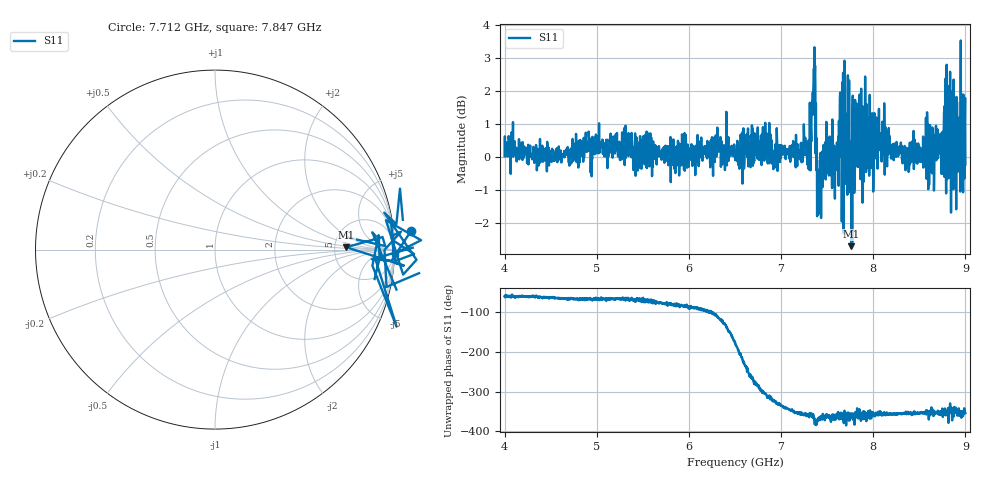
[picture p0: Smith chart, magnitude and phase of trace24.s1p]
! Created with skrf 1.8.0 (http://scikit-rf.org).
# Hz S RI R 50.0
!freq ReS11 ImS11
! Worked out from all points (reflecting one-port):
!   1601 points, 4 GHz to 9 GHz, reference 50 ohm
!   lowest |S11| = -2.7 dB at 7.762 GHz (marker M1), VSWR 6.44, Z = 321 + j18.1 ohm
!   phase of S11 starts at -61 deg and turns -293 deg over the sweep
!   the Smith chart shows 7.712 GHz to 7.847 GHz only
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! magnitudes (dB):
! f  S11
! 4 GHz  0.0
! 4.625 GHz  0.0
! 5.25 GHz  -0.1
! 5.875 GHz  0.2
! 6.238 GHz  0.5
! 6.316 GHz  0.4
! 6.5 GHz  0.2
! 6.819 GHz  0.6
! 7.125 GHz  0.3
! 7.294 GHz  -0.4
! 7.353 GHz  2.3
! 7.409 GHz  -1.2
! 7.512 GHz  0.2
! 7.609 GHz  0.2
! 7.662 GHz  0.3
! 7.75 GHz  0.3
! 7.762 GHz  -2.7
! 7.788 GHz  -0.8
! 7.828 GHz  0.2
! 7.928 GHz  1.6
! 7.981 GHz  -0.3
! 8.134 GHz  0.6
! 8.375 GHz  -0.3
! 8.734 GHz  0.3
! 8.788 GHz  -0.4
! 8.919 GHz  0.3
! 8.972 GHz  0.3
! 9 GHz  -0.2
